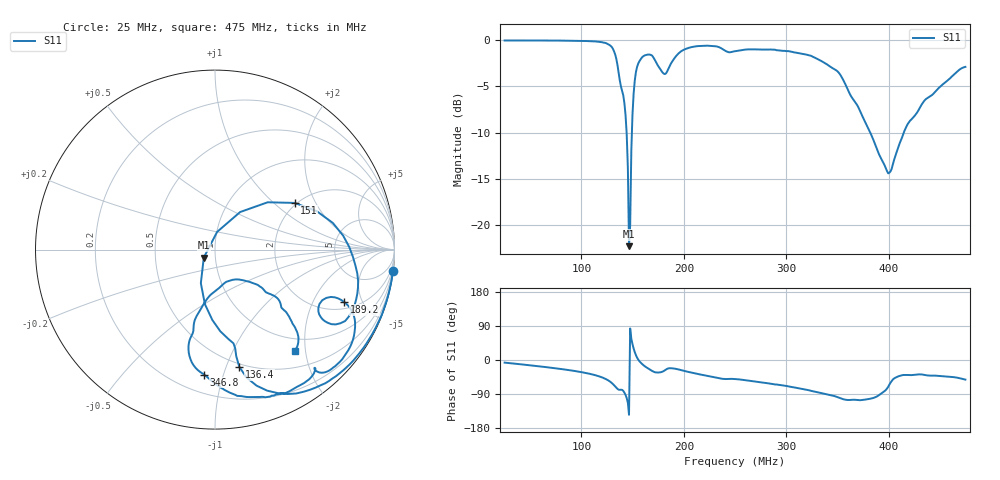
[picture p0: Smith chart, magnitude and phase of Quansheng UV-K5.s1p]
! NanoVNA-App
! Date: 2023-06-06 09:36:38
! Start: 25MHz Stop: 475MHz Points: 401
! S-Parameter data: F S11
# Hz S RI R 50
!  Frequency  S11_Real  S11_Imag
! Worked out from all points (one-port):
!   401 points, 25 MHz to 475 MHz, reference 50 ohm
!   lowest |S11| = -22.3 dB at 146.5 MHz (marker M1), VSWR 1.17, Z = 44 - j3.93 ohm
!   |S11| at or under -10 dB: 144.1 MHz to 149.3 MHz (5.182 MHz wide, 3.53 % of centre); 382.1 MHz to 414.8 MHz (32.75 MHz wide, 8.22 % of centre)
!   S11 on the Smith chart (normalised r, x): 25 MHz: 0, -17; 136.4 MHz: 0.47, -1.11; 151 MHz: 1.95, +1.38; 189.2 MHz: 2.42, -3.56; 346.8 MHz: 0.32, -0.87; 475 MHz: 0.77, -1.80
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2.5e7  0.9908 -0.1198
8.125e7  0.9087 -0.408
1.195e8  0.6884 -0.6938
1.3075e8  0.4037 -0.8047
1.36375e8  0.1353 -0.6527
1.375e8  0.1184 -0.5939
1.42e8  0.0297 -0.4553
1.45375e8  -0.0789 -0.1872
1.465e8  -0.0624 -0.0444
1.4875e8  0.14 0.2093
1.51e8  0.4436 0.2601
1.5325e8  0.6564 0.1486
1.56625e8  0.7691 -0.0425
1.6225e8  0.793 -0.2453
1.69e8  0.725 -0.3981
1.79125e8  0.5758 -0.3435
1.8925e8  0.7195 -0.2921
1.9375e8  0.7634 -0.3433
2.2525e8  0.682 -0.6375
2.5e8  0.5578 -0.6713
3.0625e8  0.2719 -0.821
3.25375e8  0.1139 -0.8096
3.4675e8  -0.0602 -0.6965
3.625e8  -0.1354 -0.4892
3.99625e8  0.0628 -0.1794
4.1875e8  0.2718 -0.2242
4.62625e8  0.4554 -0.4541
4.75e8  0.4444 -0.5638
